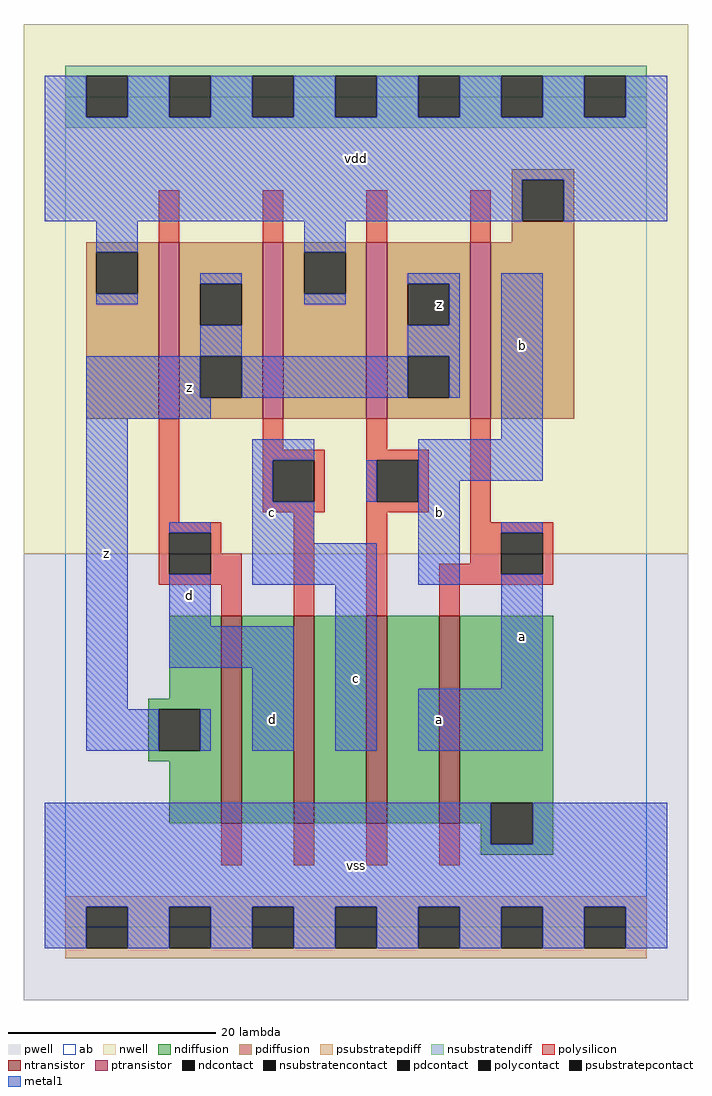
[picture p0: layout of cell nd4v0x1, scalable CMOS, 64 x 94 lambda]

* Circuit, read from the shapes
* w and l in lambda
.subckt nd4v0x1 a b c d vdd vss z
M1 n1 d z vss nfet w=20 l=2
M2 n2 c n1 vss nfet w=20 l=2
M3 n3 b n2 vss nfet w=20 l=2
M4 vss a n3 vss nfet w=20 l=2
M5 z d vdd vdd pfet w=17 l=2
M6 vdd c z vdd pfet w=17 l=2
M7 z b vdd vdd pfet w=17 l=2
M8 vdd a z vdd pfet w=17 l=2
.ends

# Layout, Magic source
magic
tech scmos
<< ab >>
rect 0 0 56 80
<< pwell >>
rect -4 -7 60 36
<< nwell >>
rect -4 36 60 87
<< polysilicon >>
rect 9 66 11 71
rect 19 66 21 71
rect 29 66 31 71
rect 39 66 41 71
rect 9 39 11 49
rect 19 46 21 49
rect 29 46 31 49
rect 19 45 25 46
rect 19 41 20 45
rect 24 41 25 45
rect 19 40 25 41
rect 29 45 35 46
rect 29 41 30 45
rect 34 41 35 45
rect 29 40 35 41
rect 9 38 15 39
rect 9 34 10 38
rect 14 36 15 38
rect 14 34 17 36
rect 9 33 17 34
rect 15 30 17 33
rect 22 30 24 40
rect 29 30 31 40
rect 39 39 41 49
rect 39 38 47 39
rect 39 35 42 38
rect 36 34 42 35
rect 46 34 47 38
rect 36 33 47 34
rect 36 30 38 33
rect 15 6 17 10
rect 22 6 24 10
rect 29 6 31 10
rect 36 6 38 10
<< ndiffusion >>
rect 10 22 15 30
rect 8 21 15 22
rect 8 17 9 21
rect 13 17 15 21
rect 8 16 15 17
rect 10 10 15 16
rect 17 10 22 30
rect 24 10 29 30
rect 31 10 36 30
rect 38 12 47 30
rect 38 10 41 12
rect 40 8 41 10
rect 45 8 47 12
rect 40 7 47 8
<< pdiffusion >>
rect 43 72 49 73
rect 43 68 44 72
rect 48 68 49 72
rect 43 66 49 68
rect 2 65 9 66
rect 2 61 3 65
rect 7 61 9 65
rect 2 49 9 61
rect 11 62 19 66
rect 11 58 13 62
rect 17 58 19 62
rect 11 55 19 58
rect 11 51 13 55
rect 17 51 19 55
rect 11 49 19 51
rect 21 65 29 66
rect 21 61 23 65
rect 27 61 29 65
rect 21 49 29 61
rect 31 62 39 66
rect 31 58 33 62
rect 37 58 39 62
rect 31 55 39 58
rect 31 51 33 55
rect 37 51 39 55
rect 31 49 39 51
rect 41 49 49 66
<< metal1 >>
rect -2 78 2 82
rect 6 78 10 82
rect 14 78 18 82
rect 22 78 26 82
rect 30 78 34 82
rect 38 78 42 82
rect 46 78 50 82
rect 54 78 58 82
rect -2 72 58 78
rect -2 68 44 72
rect 48 68 58 72
rect 3 65 7 68
rect 23 65 27 68
rect 3 60 7 61
rect 13 62 17 63
rect 23 60 27 61
rect 33 62 38 63
rect 13 55 17 58
rect 37 58 38 62
rect 33 55 38 58
rect 2 51 13 55
rect 17 51 33 55
rect 37 51 38 55
rect 2 49 14 51
rect 2 21 6 49
rect 42 47 46 63
rect 18 45 24 47
rect 18 41 20 45
rect 29 41 30 45
rect 34 43 46 47
rect 10 38 14 39
rect 10 29 14 34
rect 18 37 24 41
rect 18 33 30 37
rect 34 33 38 43
rect 42 38 46 39
rect 10 25 22 29
rect 2 17 9 21
rect 13 17 14 21
rect 18 17 22 25
rect 26 17 30 33
rect 42 23 46 34
rect 34 17 46 23
rect -2 8 41 12
rect 45 8 58 12
rect -2 2 58 8
rect -2 -2 2 2
rect 6 -2 10 2
rect 14 -2 18 2
rect 22 -2 26 2
rect 30 -2 34 2
rect 38 -2 42 2
rect 46 -2 50 2
rect 54 -2 58 2
<< ntransistor >>
rect 15 10 17 30
rect 22 10 24 30
rect 29 10 31 30
rect 36 10 38 30
<< ptransistor >>
rect 9 49 11 66
rect 19 49 21 66
rect 29 49 31 66
rect 39 49 41 66
<< polycontact >>
rect 20 41 24 45
rect 30 41 34 45
rect 10 34 14 38
rect 42 34 46 38
<< ndcontact >>
rect 9 17 13 21
rect 41 8 45 12
<< pdcontact >>
rect 44 68 48 72
rect 3 61 7 65
rect 13 58 17 62
rect 13 51 17 55
rect 23 61 27 65
rect 33 58 37 62
rect 33 51 37 55
<< psubstratepcontact >>
rect 2 -2 6 2
rect 10 -2 14 2
rect 18 -2 22 2
rect 26 -2 30 2
rect 34 -2 38 2
rect 42 -2 46 2
rect 50 -2 54 2
<< nsubstratencontact >>
rect 2 78 6 82
rect 10 78 14 82
rect 18 78 22 82
rect 26 78 30 82
rect 34 78 38 82
rect 42 78 46 82
rect 50 78 54 82
<< psubstratepdiff >>
rect 0 2 56 3
rect 0 -2 2 2
rect 6 -2 10 2
rect 14 -2 18 2
rect 22 -2 26 2
rect 30 -2 34 2
rect 38 -2 42 2
rect 46 -2 50 2
rect 54 -2 56 2
rect 0 -3 56 -2
<< nsubstratendiff >>
rect 0 82 56 83
rect 0 78 2 82
rect 6 78 10 82
rect 14 78 18 82
rect 22 78 26 82
rect 30 78 34 82
rect 38 78 42 82
rect 46 78 50 82
rect 54 78 56 82
rect 0 77 56 78
<< labels >>
rlabel metal1 4 36 4 36 6 z
rlabel metal1 12 32 12 32 6 d
rlabel metal1 12 52 12 52 6 z
rlabel metal1 28 6 28 6 6 vss
rlabel metal1 20 20 20 20 6 d
rlabel metal1 28 24 28 24 6 c
rlabel metal1 20 40 20 40 6 c
rlabel metal1 28 74 28 74 6 vdd
rlabel metal1 36 20 36 20 6 a
rlabel metal1 44 28 44 28 6 a
rlabel metal1 36 40 36 40 6 b
rlabel pdcontact 36 60 36 60 6 z
rlabel metal1 44 56 44 56 6 b
<< end >>
